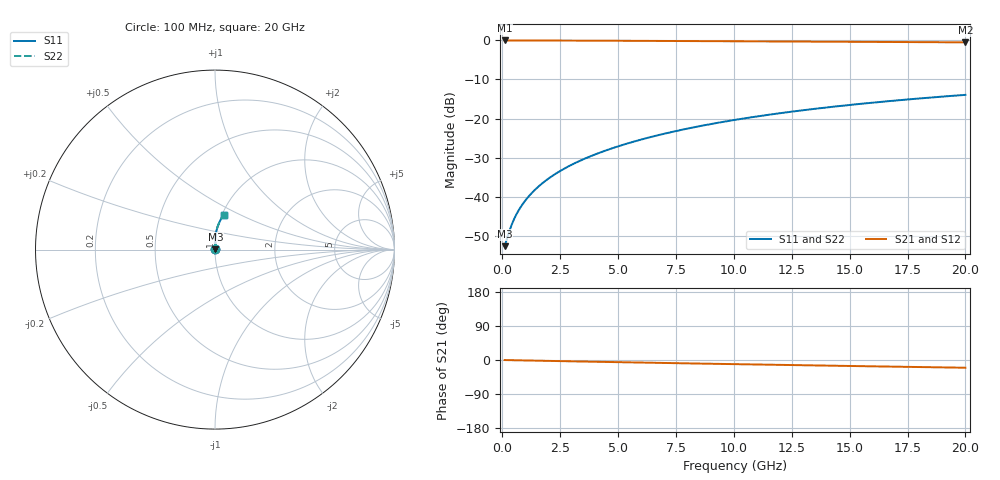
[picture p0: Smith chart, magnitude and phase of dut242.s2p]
! Touchstone file exported from HFSS 2024.1.0
!  File:  C:/UserFiles/LocalFiles/RDL_TSV_Batchsim/temp_RDL_bottom_242_1778701306.aedt
!  Generated:  03:44:23 AM May 14, 2026
!  Design:  RDL_bottom
!  Project:  temp_RDL_bottom_242_1778701306
!  Setup:  Setup1
!  Solution:  Sweep
! Variables:
!  dtsv = 10.80580581um
!  hbump = 3um
!  htsv = 86.41um
!  ldown = 269.84um
!  lrdl = 100um
!  p = 40
!  p1 = 45.81um
!  rhole = 1um
!  t = 450um
!  tdown = 2.26um
!  trdl = 3.915915916um
!  wdown = 24.16um
!  wrdl = 20um
# GHz S MA R 50.000000
! Terminal data exported
! Port[1] = RDL1_T1
! Port[2] = RDL1_T2
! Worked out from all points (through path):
!   200 points, 100 MHz to 20 GHz, reference 50 ohm
!   highest |S21| = -0.02 dB at 100 MHz (marker M1); lowest = -0.5 dB at 20 GHz (marker M2)
!   group delay of S21, straight-line fit = 2.81 ps
!   lowest |S11| = -52.6 dB at 100 MHz (marker M3), VSWR 1.00, Z = 50.2 + j0.0959 ohm
!   |S11| at or under -10 dB: start of sweep to end of sweep
!   |S22| runs from -52.6 to -13.9 dB; largest |S21 - S12| = 4.1e-15
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0.1  0.002334 24.2  0.9979 -0.1  0.9979 -0.1  0.002334 24.2
! Gamma 0 0 0 0
! Port Impedance 50 0 50 0
0.3  0.003592 51.0  0.9977 -0.4  0.9977 -0.4  0.003592 51.0
0.4  0.004346 57.5  0.9976 -0.5  0.9976 -0.5  0.004346 57.5
0.6  0.005884 65.3  0.9974 -0.7  0.9974 -0.7  0.005884 65.3
0.7  0.006657 67.9  0.9972 -0.8  0.9972 -0.8  0.006657 67.9
0.9  0.008214 71.9  0.997 -1.1  0.997 -1.1  0.008214 71.9
1.2  0.01059 76.0  0.9967 -1.4  0.9967 -1.4  0.01059 76.0
1.4  0.01219 78.0  0.9965 -1.7  0.9965 -1.7  0.01219 78.0
1.7  0.01464 80.3  0.9961 -2.0  0.9961 -2.0  0.01464 80.3
2.2  0.01881 82.9  0.9954 -2.6  0.9954 -2.6  0.01881 82.9
2.8  0.02396 85.0  0.9944 -3.3  0.9944 -3.3  0.02396 85.0
3.5  0.03015 86.5  0.993 -4.1  0.993 -4.1  0.03015 86.5
4.2  0.03656 87.5  0.9914 -4.9  0.9914 -4.9  0.03656 87.5
5  0.04414 88.2  0.9894 -5.7  0.9894 -5.7  0.04413 88.2
5.9  0.05295 88.5  0.9869 -6.7  0.9869 -6.7  0.05295 88.5
6.8  0.06203 88.4  0.9843 -7.7  0.9843 -7.7  0.06203 88.4
8.4  0.07868 87.7  0.9794 -9.3  0.9794 -9.3  0.07868 87.7
10.1  0.09679 86.4  0.9742 -11.0  0.9742 -11.0  0.09679 86.4
11.7  0.114 84.9  0.9693 -12.6  0.9693 -12.6  0.114 84.9
13.4  0.1323 83.1  0.9641 -14.2  0.9641 -14.2  0.1323 83.1
16.7  0.1672 79.5  0.9541 -17.4  0.9541 -17.4  0.1672 79.5
20  0.201 76.0  0.944 -20.4  0.944 -20.4  0.201 76.0
